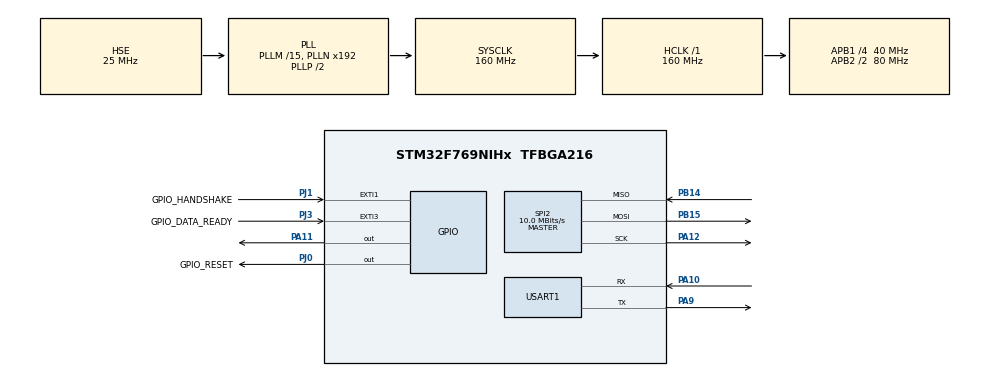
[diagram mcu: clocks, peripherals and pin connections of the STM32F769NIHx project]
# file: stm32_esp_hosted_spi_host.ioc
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Dma.Request0=SPI2_RX
Dma.Request1=SPI2_TX
Dma.SPI2_RX.0.Direction=DMA_PERIPH_TO_MEMORY
Dma.SPI2_RX.0.FIFOMode=DMA_FIFOMODE_DISABLE
Dma.SPI2_RX.0.Instance=DMA1_Stream1
Dma.SPI2_RX.0.MemDataAlignment=DMA_MDATAALIGN_BYTE
Dma.SPI2_RX.0.MemInc=DMA_MINC_ENABLE
Dma.SPI2_RX.0.Mode=DMA_NORMAL
Dma.SPI2_RX.0.PeriphDataAlignment=DMA_PDATAALIGN_BYTE
Dma.SPI2_RX.0.PeriphInc=DMA_PINC_DISABLE
Dma.SPI2_RX.0.Priority=DMA_PRIORITY_LOW
Dma.SPI2_TX.1.Direction=DMA_MEMORY_TO_PERIPH
Dma.SPI2_TX.1.FIFOMode=DMA_FIFOMODE_DISABLE
Dma.SPI2_TX.1.Instance=DMA1_Stream4
Dma.SPI2_TX.1.MemDataAlignment=DMA_MDATAALIGN_BYTE
Dma.SPI2_TX.1.MemInc=DMA_MINC_ENABLE
Dma.SPI2_TX.1.Mode=DMA_NORMAL
Dma.SPI2_TX.1.PeriphDataAlignment=DMA_PDATAALIGN_BYTE
Dma.SPI2_TX.1.PeriphInc=DMA_PINC_DISABLE
Dma.SPI2_TX.1.Priority=DMA_PRIORITY_LOW
FREERTOS.Tasks01=defaultTask,0,128,StartDefaultTask,Default,NULL,Dynamic,NULL,NULL
FREERTOS.configTIMER_TASK_PRIORITY=4
FREERTOS.configTOTAL_HEAP_SIZE=196608
FREERTOS.configUSE_NEWLIB_REENTRANT=1
FREERTOS.configUSE_TIMERS=1
Mcu.Family=STM32F7
Mcu.Name=STM32F769NIHx
Mcu.Package=TFBGA216
NVIC.DMA1_Stream1_IRQn=true\:5\:0\:false\:false\:true\:true\:false\:true\:true
NVIC.DMA1_Stream4_IRQn=true\:5\:0\:false\:false\:true\:true\:false\:true\:true
NVIC.EXTI1_IRQn=true\:5\:0\:false\:false\:true\:false\:true\:true\:true
NVIC.EXTI3_IRQn=true\:5\:0\:false\:false\:true\:false\:true\:true\:true
NVIC.PriorityGroup=NVIC_PRIORITYGROUP_4
NVIC.SPI2_IRQn=true\:5\:0\:false\:false\:true\:true\:true\:true\:true
NVIC.TIM6_DAC_IRQn=true\:15\:0\:false\:false\:true\:false\:false\:true\:true
NVIC.TimeBase=TIM6_DAC_IRQn
NVIC.TimeBaseIP=TIM6
PA10.Mode=Asynchronous
PA10.Signal=USART1_RX
PA11.PinState=GPIO_PIN_SET
PA11.Signal=GPIO_Output
PA12.Mode=Full_Duplex_Master
PA12.Signal=SPI2_SCK
PA13.Mode=Serial_Wire
PA13.Signal=SYS_JTMS-SWDIO
PA14.Mode=Serial_Wire
PA14.Signal=SYS_JTCK-SWCLK
PA9.Mode=Asynchronous
PA9.Signal=USART1_TX
PB14.Mode=Full_Duplex_Master
PB14.Signal=SPI2_MISO
PB15.Mode=Full_Duplex_Master
PB15.Signal=SPI2_MOSI
PC6.Signal=USART6_TX
PC7.Signal=USART6_RX
PH0/OSC_IN.Mode=HSE-External-Oscillator
PH0/OSC_IN.Signal=RCC_OSC_IN
PH1/OSC_OUT.Mode=HSE-External-Oscillator
PH1/OSC_OUT.Signal=RCC_OSC_OUT
PJ0.GPIO_Label=GPIO_RESET
PJ0.PinState=GPIO_PIN_SET
PJ0.Signal=GPIO_Output
PJ1.GPIO_Label=GPIO_HANDSHAKE
PJ1.Signal=GPXTI1
PJ3.GPIO_Label=GPIO_DATA_READY
PJ3.Signal=GPXTI3
ProjectManager.HeapSize=0x200
ProjectManager.StackSize=0x400
ProjectManager.TargetToolchain=STM32CubeIDE
RCC.AHBFreq_Value=160000000
RCC.APB1CLKDivider=RCC_HCLK_DIV4
RCC.APB1Freq_Value=40000000
RCC.APB1TimFreq_Value=80000000
RCC.APB2CLKDivider=RCC_HCLK_DIV2
RCC.APB2Freq_Value=80000000
RCC.APB2TimFreq_Value=160000000
RCC.CortexFreq_Value=160000000
RCC.HCLKFreq_Value=160000000
RCC.HSE_VALUE=25000000
RCC.HSI_VALUE=16000000
RCC.LSE_VALUE=32768
RCC.PLLM=15
RCC.PLLQ=4
RCC.PLLSAIQ=3
RCC.PLLSourceVirtual=RCC_PLLSOURCE_HSE
RCC.SYSCLKFreq_VALUE=160000000
RCC.SYSCLKSource=RCC_SYSCLKSOURCE_PLLCLK
RCC.USBFreq_Value=80000000
RCC.VCOOutputFreq_Value=320000000
SPI2.BaudRatePrescaler=SPI_BAUDRATEPRESCALER_4
SPI2.CLKPhase=SPI_PHASE_1EDGE
SPI2.CLKPolarity=SPI_POLARITY_HIGH
SPI2.CalculateBaudRate=10.0 MBits/s
SPI2.DataSize=SPI_DATASIZE_8BIT
SPI2.Direction=SPI_DIRECTION_2LINES
SPI2.Mode=SPI_MODE_MASTER
SPI2.VirtualType=VM_MASTER
USART1.VirtualMode-Asynchronous=VM_ASYNC
VP_FREERTOS_VS_CMSIS_V1.Mode=CMSIS_V1
VP_SYS_VS_tim6.Mode=TIM6
board=STM32F769I-DISCO

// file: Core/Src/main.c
/* USER CODE BEGIN Header */
/**
 ******************************************************************************
 * @file           : main.c
 * @brief          : Main program body
 ******************************************************************************
 * @attention
 *
 * Copyright (c) 2023 STMicroelectronics.
 * All rights reserved.
 *
 * This software is licensed under terms that can be found in the LICENSE file
 * in the root directory of this software component.
 * If no LICENSE file comes with this software, it is provided AS-IS.
 *
 ******************************************************************************
 */
/* USER CODE END Header */
#include "main.h"
#include "cmsis_os.h"

/* USER CODE BEGIN Includes */
#include "app_main.h"
#include "lwip_startup.h"
#include "ctrl_api.h"
#include "util.h"
/* USER CODE END Includes */

SPI_HandleTypeDef hspi2;
DMA_HandleTypeDef hdma_spi2_rx;
DMA_HandleTypeDef hdma_spi2_tx;

UART_HandleTypeDef huart1;

osThreadId defaultTaskHandle;

void SystemClock_Config(void);
static void MX_GPIO_Init(void);
static void MX_DMA_Init(void);
static void MX_SPI2_Init(void);
static void MX_USART1_UART_Init(void);
void StartDefaultTask(void const * argument);

int main(void)
{

  /* MCU Configuration--------------------------------------------------------*/

  /* Reset of all peripherals, Initializes the Flash interface and the Systick. */
  HAL_Init();

  /* Configure the system clock */
  SystemClock_Config();

  /* Initialize all configured peripherals */
  MX_GPIO_Init();
  MX_DMA_Init();
  MX_SPI2_Init();
  MX_USART1_UART_Init();

  /* Create the thread(s) */
  /* definition and creation of defaultTask */
  osThreadDef(defaultTask, StartDefaultTask, osPriorityNormal, 0, 1024);
  defaultTaskHandle = osThreadCreate(osThread(defaultTask), NULL);

  /* Start scheduler */
  osKernelStart();

  /* We should never get here as control is now taken by the scheduler */
  /* Infinite loop */
  while (1)
  {

  }
}

void SystemClock_Config(void)
{
  RCC_OscInitTypeDef RCC_OscInitStruct = {0};
  RCC_ClkInitTypeDef RCC_ClkInitStruct = {0};

  /** Configure the main internal regulator output voltage
  */
  __HAL_RCC_PWR_CLK_ENABLE();
  __HAL_PWR_VOLTAGESCALING_CONFIG(PWR_REGULATOR_VOLTAGE_SCALE2);

  /** Initializes the RCC Oscillators according to the specified parameters
  * in the RCC_OscInitTypeDef structure.
  */
  RCC_OscInitStruct.OscillatorType = RCC_OSCILLATORTYPE_HSE;
  RCC_OscInitStruct.HSEState = RCC_HSE_ON;
  RCC_OscInitStruct.PLL.PLLState = RCC_PLL_ON;
  RCC_OscInitStruct.PLL.PLLSource = RCC_PLLSOURCE_HSE;
  RCC_OscInitStruct.PLL.PLLM = 15;
  RCC_OscInitStruct.PLL.PLLN = 192;
  RCC_OscInitStruct.PLL.PLLP = RCC_PLLP_DIV2;
  RCC_OscInitStruct.PLL.PLLQ = 4;
  RCC_OscInitStruct.PLL.PLLR = 2;
  if (HAL_RCC_OscConfig(&RCC_OscInitStruct) != HAL_OK)
  {
    Error_Handler();
  }

  /** Initializes the CPU, AHB and APB buses clocks
  */
  RCC_ClkInitStruct.ClockType = RCC_CLOCKTYPE_HCLK|RCC_CLOCKTYPE_SYSCLK
                              |RCC_CLOCKTYPE_PCLK1|RCC_CLOCKTYPE_PCLK2;
  RCC_ClkInitStruct.SYSCLKSource = RCC_SYSCLKSOURCE_PLLCLK;
  RCC_ClkInitStruct.AHBCLKDivider = RCC_SYSCLK_DIV1;
  RCC_ClkInitStruct.APB1CLKDivider = RCC_HCLK_DIV4;
  RCC_ClkInitStruct.APB2CLKDivider = RCC_HCLK_DIV2;

  if (HAL_RCC_ClockConfig(&RCC_ClkInitStruct, FLASH_LATENCY_5) != HAL_OK)
  {
    Error_Handler();
  }
}

static void MX_SPI2_Init(void)
{

  /* SPI2 parameter configuration*/
  hspi2.Instance = SPI2;
  hspi2.Init.Mode = SPI_MODE_MASTER;
  hspi2.Init.Direction = SPI_DIRECTION_2LINES;
  hspi2.Init.DataSize = SPI_DATASIZE_8BIT;
  hspi2.Init.CLKPolarity = SPI_POLARITY_HIGH;
  hspi2.Init.CLKPhase = SPI_PHASE_1EDGE;
  hspi2.Init.NSS = SPI_NSS_SOFT;
  hspi2.Init.BaudRatePrescaler = SPI_BAUDRATEPRESCALER_4;
  hspi2.Init.FirstBit = SPI_FIRSTBIT_MSB;
  hspi2.Init.TIMode = SPI_TIMODE_DISABLE;
  hspi2.Init.CRCCalculation = SPI_CRCCALCULATION_DISABLE;
  hspi2.Init.CRCPolynomial = 7;
  hspi2.Init.CRCLength = SPI_CRC_LENGTH_DATASIZE;
  hspi2.Init.NSSPMode = SPI_NSS_PULSE_ENABLE;
  if (HAL_SPI_Init(&hspi2) != HAL_OK)
  {
    Error_Handler();
  }

}

static void MX_USART1_UART_Init(void)
{

  huart1.Instance = USART1;
  huart1.Init.BaudRate = 115200;
  huart1.Init.WordLength = UART_WORDLENGTH_8B;
  huart1.Init.StopBits = UART_STOPBITS_1;
  huart1.Init.Parity = UART_PARITY_NONE;
  huart1.Init.Mode = UART_MODE_TX_RX;
  huart1.Init.HwFlowCtl = UART_HWCONTROL_NONE;
  huart1.Init.OverSampling = UART_OVERSAMPLING_16;
  huart1.Init.OneBitSampling = UART_ONE_BIT_SAMPLE_DISABLE;
  huart1.AdvancedInit.AdvFeatureInit = UART_ADVFEATURE_NO_INIT;
  if (HAL_UART_Init(&huart1) != HAL_OK)
  {
    Error_Handler();
  }

}

static void MX_DMA_Init(void)
{

  /* DMA controller clock enable */
  __HAL_RCC_DMA1_CLK_ENABLE();

  /* DMA interrupt init */
  /* DMA1_Stream1_IRQn interrupt configuration */
  HAL_NVIC_SetPriority(DMA1_Stream1_IRQn, 5, 0);
  HAL_NVIC_EnableIRQ(DMA1_Stream1_IRQn);
  /* DMA1_Stream4_IRQn interrupt configuration */
  HAL_NVIC_SetPriority(DMA1_Stream4_IRQn, 5, 0);
  HAL_NVIC_EnableIRQ(DMA1_Stream4_IRQn);

}

static void MX_GPIO_Init(void)
{
  GPIO_InitTypeDef GPIO_InitStruct = {0};

  /* GPIO Ports Clock Enable */
  __HAL_RCC_GPIOA_CLK_ENABLE();
  __HAL_RCC_GPIOH_CLK_ENABLE();
  __HAL_RCC_GPIOC_CLK_ENABLE();
  __HAL_RCC_GPIOJ_CLK_ENABLE();
  __HAL_RCC_GPIOB_CLK_ENABLE();

  /*Configure GPIO pin Output Level */
  HAL_GPIO_WritePin(GPIOA, GPIO_PIN_11, GPIO_PIN_SET);

  /*Configure GPIO pin Output Level */
  HAL_GPIO_WritePin(GPIO_RESET_GPIO_Port, GPIO_RESET_Pin, GPIO_PIN_SET);

  /*Configure GPIO pin : PA11 */
  GPIO_InitStruct.Pin = GPIO_PIN_11;
  GPIO_InitStruct.Mode = GPIO_MODE_OUTPUT_PP;
  GPIO_InitStruct.Pull = GPIO_NOPULL;
  GPIO_InitStruct.Speed = GPIO_SPEED_FREQ_LOW;
  HAL_GPIO_Init(GPIOA, &GPIO_InitStruct);

  /*Configure GPIO pins : PC7 PC6 */
  GPIO_InitStruct.Pin = GPIO_PIN_7|GPIO_PIN_6;
  GPIO_InitStruct.Mode = GPIO_MODE_AF_PP;
  GPIO_InitStruct.Pull = GPIO_NOPULL;
  GPIO_InitStruct.Speed = GPIO_SPEED_FREQ_VERY_HIGH;
  GPIO_InitStruct.Alternate = GPIO_AF8_USART6;
  HAL_GPIO_Init(GPIOC, &GPIO_InitStruct);

  /*Configure GPIO pins : GPIO_DATA_READY_Pin GPIO_HANDSHAKE_Pin */
  GPIO_InitStruct.Pin = GPIO_DATA_READY_Pin|GPIO_HANDSHAKE_Pin;
  GPIO_InitStruct.Mode = GPIO_MODE_IT_RISING;
  GPIO_InitStruct.Pull = GPIO_NOPULL;
  HAL_GPIO_Init(GPIOJ, &GPIO_InitStruct);

  /*Configure GPIO pin : GPIO_RESET_Pin */
  GPIO_InitStruct.Pin = GPIO_RESET_Pin;
  GPIO_InitStruct.Mode = GPIO_MODE_OUTPUT_PP;
  GPIO_InitStruct.Pull = GPIO_NOPULL;
  GPIO_InitStruct.Speed = GPIO_SPEED_FREQ_LOW;
  HAL_GPIO_Init(GPIO_RESET_GPIO_Port, &GPIO_InitStruct);

  /* EXTI interrupt init*/
  HAL_NVIC_SetPriority(EXTI1_IRQn, 5, 0);
  HAL_NVIC_EnableIRQ(EXTI1_IRQn);

  HAL_NVIC_SetPriority(EXTI3_IRQn, 5, 0);
  HAL_NVIC_EnableIRQ(EXTI3_IRQn);

}

void StartDefaultTask(void const * argument)
{
  /* USER CODE BEGIN 5 */
  hosted_initialize();
  /* implemented synchronous */
#if (MAIN_APP_CODE == LWIP_DEMO)
  // Wait the boot of the ESP32 network interface
  osDelay(3000);
  ctrl_cmd_t req;
  req.msg_type = CTRL_REQ;
  req.ctrl_resp_cb = NULL;
  req.cmd_timeout_sec = DEFAULT_CTRL_RESP_TIMEOUT; /*30 sec*/
  req.u.wifi_mac.mode = WIFI_MODE_STA;
  ctrl_cmd_t *resp = NULL;

  while(1){
	  resp = wifi_get_mac(req);
	  if (resp && resp->msg_id == CTRL_RESP_GET_MAC_ADDR) {
		  break;
	  }else {
		  osDelay(10);
	  }
  }

  uint8_t parsed_mac[6];
  if (STM_OK == convert_mac_to_bytes(parsed_mac, resp->u.wifi_mac.mac)) {
	  lwip_startup(parsed_mac);
  }
#endif

  /* Infinite loop */
  for (;;)
  {
    osDelay(1);
  }
  /* USER CODE END 5 */
}

void HAL_TIM_PeriodElapsedCallback(TIM_HandleTypeDef *htim)
{
  if (htim->Instance == TIM6) {
    HAL_IncTick();
  }
}

void Error_Handler(void)
{
  __disable_irq();
  while (1)
  {
  }
}
